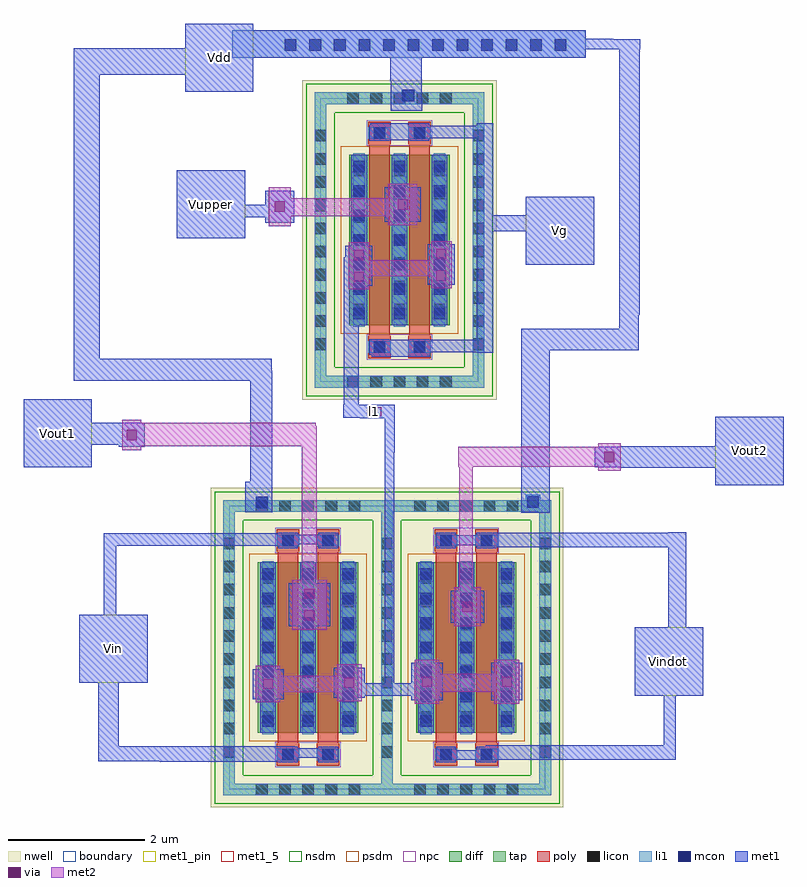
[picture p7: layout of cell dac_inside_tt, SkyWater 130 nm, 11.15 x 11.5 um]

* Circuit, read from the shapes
.subckt dac_inside_tt Vdd Vg Vin Vindot Vout1 Vout2 Vupper l1
XM1 Vout1 Vin l1 Vdd sky130_fd_pr__pfet_01v8 w=2.5 l=0.3 m=2
XM2 Vupper Vg l1 Vdd sky130_fd_pr__pfet_01v8 w=2.5 l=0.3 m=2
XM3 Vout2 Vindot l1 Vdd sky130_fd_pr__pfet_01v8 w=2.5 l=0.3 m=2
.ends

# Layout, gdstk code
import gdstk
lib = gdstk.Library(unit=1e-6, precision=1e-09)
def R(c, l, rs):  # rectangles x0, y0, x1, y1
    for r in rs: c.add(gdstk.rectangle(r[:2], r[2:], *l))
def A(c, l, x, y, w, h, nx, ny, dx, dy):  # array of equal rectangles
    R(c, l, [(x+i*dx, y+j*dy, x+i*dx+w, y+j*dy+h) for i in range(nx) for j in range(ny)])
nwell = (64, 20)
diff = (65, 20)
tap = (65, 44)
poly = (66, 20)
licon = (66, 44)
li1 = (67, 20)
mcon = (67, 44)
met1_5 = (68, 5)
met1_pin = (68, 16)
met1 = (68, 20)
via = (68, 44)
met2 = (69, 20)
nsdm = (93, 44)
psdm = (94, 20)
npc = (95, 20)
boundary = (235, 4)

sky130_fd_pr__pfet_01v8_ = lib.new_cell('sky130_fd_pr__pfet_01v8_JMP7WZ')
R(sky130_fd_pr__pfet_01v8_, nwell, [(-1.425,-2.345,1.425,2.345)])
R(sky130_fd_pr__pfet_01v8_, diff, [(-0.735,-1.25,0.735,1.25)])
R(sky130_fd_pr__pfet_01v8_, tap, [(-1.245,-2.165,1.245,-1.995), (-1.245,-1.995,-1.075,1.995), (1.075,-1.995,1.245,1.995), (-1.245,1.995,1.245,2.165)])
R(sky130_fd_pr__pfet_01v8_, poly, [(-0.46,-1.735,-0.13,-1.405), (0.13,-1.735,0.46,-1.405), (-0.445,-1.405,-0.145,1.405), (0.145,-1.405,0.445,1.405), (-0.46,1.405,-0.13,1.735), (0.13,1.405,0.46,1.735)])
A(sky130_fd_pr__pfet_01v8_, licon, -0.765, -2.165, 0.17, 0.17, 5, 2, 0.34, 4.16)
A(sky130_fd_pr__pfet_01v8_, licon, -1.245, -1.615, 0.17, 0.17, 1, 10, 0, 0.34)
A(sky130_fd_pr__pfet_01v8_, licon, 1.075, -1.615, 0.17, 0.17, 1, 10, 0, 0.34)
A(sky130_fd_pr__pfet_01v8_, licon, -0.675, -1.105, 0.17, 0.17, 3, 7, 0.59, 0.34)
R(sky130_fd_pr__pfet_01v8_, licon, [(-0.38,-1.655,-0.21,-1.485), (0.21,-1.655,0.38,-1.485), (-0.38,1.485,-0.21,1.655), (0.21,1.485,0.38,1.655)])
A(sky130_fd_pr__pfet_01v8_, li1, -0.675, -1.27, 0.17, 2.54, 3, 1, 0.59, 0)
R(sky130_fd_pr__pfet_01v8_, li1, [(-1.245,-2.165,1.245,-1.995), (-1.245,-1.995,-1.075,1.995), (1.075,-1.995,1.245,1.995), (-0.46,-1.655,-0.13,-1.485), (0.13,-1.655,0.46,-1.485), (-0.46,1.485,-0.13,1.655), (0.13,1.485,0.46,1.655), (-1.245,1.995,1.245,2.165)])
A(sky130_fd_pr__pfet_01v8_, mcon, -0.675, -1.165, 0.17, 0.17, 3, 7, 0.59, 0.36)
R(sky130_fd_pr__pfet_01v8_, mcon, [(-0.38,-1.655,-0.21,-1.485), (0.21,-1.655,0.38,-1.485), (-0.38,1.485,-0.21,1.655), (0.21,1.485,0.38,1.655)])
A(sky130_fd_pr__pfet_01v8_, met1, -0.705, -1.25, 0.23, 2.5, 3, 1, 0.59, 0)
R(sky130_fd_pr__pfet_01v8_, met1, [(-0.44,-1.685,-0.15,-1.455), (0.15,-1.685,0.44,-1.455), (-0.44,1.455,-0.15,1.685), (0.15,1.455,0.44,1.685)])
R(sky130_fd_pr__pfet_01v8_, nsdm, [(-1.37,-2.29,1.37,-1.87), (-1.37,-1.87,-0.95,1.87), (0.95,-1.87,1.37,1.87), (-1.37,1.87,1.37,2.29)])
R(sky130_fd_pr__pfet_01v8_, psdm, [(-0.86,-1.375,0.86,1.375)])
R(sky130_fd_pr__pfet_01v8_, npc, [(-0.48,-1.755,0.48,-1.385), (-0.48,1.385,0.48,1.755)])
R(sky130_fd_pr__pfet_01v8_, boundary, [(-1.16,-2.08,1.16,2.08)])

dac_inside_tt = lib.new_cell('dac_inside_tt')
R(dac_inside_tt, li1, [(9.79,-4.85,10,-4.63), (5.83,-4.83,6.01,-4.66), (7.97,1.14,8.16,1.31), (5.48,1.78,10.67,2.18)])
A(dac_inside_tt, mcon, 6.255, 1.88, 0.17, 0.17, 12, 1, 0.36, 0)
R(dac_inside_tt, mcon, [(5.835,-4.83,6.005,-4.66), (9.81,-4.825,9.98,-4.655), (7.98,1.14,8.15,1.31)])
R(dac_inside_tt, met1_5, [(7.46,-3.48,7.67,-3.35)])
R(dac_inside_tt, met1_pin, [(11.39,-7.58,12.39,-6.58), (3.24,-7.39,4.24,-6.39), (12.57,-4.49,13.57,-3.49), (2.42,-4.23,3.42,-3.23), (9.79,-1.26,10.79,-0.26), (4.67,-0.87,5.67,0.13), (4.79,1.28,5.79,2.28)])
R(dac_inside_tt, met1, [(4.42,-8.55,6.4,-8.54), (3.52,-8.54,6.4,-8.49), (8.62,-8.52,11.99,-8.38), (3.52,-8.49,6.99,-8.4), (3.52,-8.4,6.96,-8.35), (9.2,-8.38,11.99,-8.31), (3.52,-8.35,6.4,-8.32), (3.52,-8.32,3.82,-7.39), (11.81,-8.31,11.99,-7.58), (8.11,-7.65,8.57,-7.58), (9.28,-7.65,9.74,-7.1), (5.78,-7.63,6.24,-7.19), (6.97,-7.61,7.43,-7.58), (6.97,-7.58,8.57,-7.4), (11.39,-7.58,12.39,-6.58), (6.97,-7.4,7.43,-7.17), (7.72,-7.4,7.86,-4.01), (8.11,-7.4,8.57,-7.1), (3.24,-7.39,4.24,-6.39), (11.88,-6.58,12.14,-5.4), (6.31,-6.56,6.92,-5.93), (8.69,-6.51,9.18,-6.04), (3.6,-6.39,3.78,-5.38), (9.09,-5.4,12.14,-5.37), (3.6,-5.38,6.45,-5.36), (8.6,-5.37,12.14,-5.23), (3.6,-5.36,6.99,-5.22), (9.09,-5.23,12.14,-5.19), (3.6,-5.22,6.45,-5.2), (11.88,-5.19,12.14,-5.18), (9.72,-4.9,10.14,-2.51), (5.67,-4.89,6.07,-4.44), (12.57,-4.49,13.57,-4.24), (5.75,-4.44,6.07,-2.96), (11.18,-4.24,13.57,-4.23), (2.42,-4.23,3.42,-3.9), (10.8,-4.23,13.57,-3.93), (7.72,-4.01,7.87,-3.51), (3.82,-3.93,4.2,-3.9), (11.18,-3.93,13.57,-3.92), (12.57,-3.92,13.57,-3.49), (2.42,-3.9,4.2,-3.58), (2.42,-3.58,3.42,-3.23), (7.36,-3.51,7.87,-3.5), (7.11,-3.5,7.87,-3.31), (7.12,-3.31,7.34,-1.57), (3.16,-2.96,6.07,-2.81), (3.16,-2.81,6.06,-2.64), (3.16,-2.64,3.54,1.53), (7.53,-2.61,8.39,-2.54), (9.07,-2.55,9.31,-2.54), (7.53,-2.54,9.31,-2.36), (9.72,-2.51,11.45,-2.2), (9.07,-2.36,9.31,-0.77), (11.16,-2.2,11.45,-1.99), (11.16,-1.99,11.46,1.9), (7.12,-1.57,7.54,-1.15), (8.35,-1.55,8.75,-0.96), (9.79,-1.26,10.79,-0.77), (7.14,-1.15,7.54,-0.98), (4.67,-0.87,5.67,-0.56), (9.07,-0.77,10.79,-0.53), (5.97,-0.64,6.39,-0.56), (7.72,-0.63,8.25,-0.12), (4.67,-0.56,6.39,-0.38), (9.07,-0.53,9.31,0.6), (9.79,-0.53,10.79,-0.26), (4.67,-0.38,5.67,0.13), (5.97,-0.38,6.39,-0.17), (7.51,0.57,8.37,0.6), (7.51,0.6,9.31,0.78), (7.51,0.78,8.37,0.82), (9.07,0.78,9.31,0.82), (7.81,1,8.27,1.19), (7.81,1.19,8.26,1.44), (4.79,1.28,5.79,1.53), (7.8,1.44,8.26,1.78), (3.16,1.53,5.79,1.78), (3.16,1.78,10.67,1.9), (3.16,1.9,11.47,1.92), (4.79,1.92,11.47,2.05), (4.79,2.05,11.07,2.06), (4.79,2.06,10.67,2.18), (4.79,2.18,5.79,2.28)])
R(dac_inside_tt, via, [(5.935,-7.485,6.085,-7.335), (7.125,-7.465,7.275,-7.315), (8.265,-7.45,8.415,-7.3), (9.435,-7.45,9.585,-7.3), (6.54,-6.48,6.69,-6.33), (8.86,-6.35,9.01,-6.2), (6.54,-6.16,6.69,-6.01), (10.94,-4.155,11.09,-4.005), (3.935,-3.83,4.085,-3.68), (7.265,-1.51,7.415,-1.36), (8.475,-1.49,8.625,-1.34), (7.265,-1.19,7.415,-1.04), (8.475,-1.17,8.625,-1.02), (6.105,-0.48,6.255,-0.33), (7.91,-0.45,8.06,-0.3)])
R(dac_inside_tt, met2, [(8.16,-7.7,8.52,-7.52), (9.33,-7.7,9.69,-7.52), (5.83,-7.68,6.19,-7.53), (7.02,-7.66,7.38,-7.53), (5.83,-7.53,7.38,-7.29), (8.16,-7.52,9.69,-7.26), (5.83,-7.29,6.19,-7.14), (7.02,-7.29,7.38,-7.12), (8.16,-7.26,8.52,-7.05), (9.33,-7.26,9.69,-7.05), (6.36,-6.61,6.87,-5.88), (8.74,-6.56,9.13,-5.99), (8.81,-5.99,9.01,-4.22), (6.5,-5.88,6.72,-3.92), (10.85,-4.28,11.18,-4.22), (8.8,-4.22,11.18,-3.93), (3.87,-3.98,4.15,-3.92), (10.85,-3.93,11.18,-3.88), (3.87,-3.92,6.72,-3.63), (3.87,-3.63,6.71,-3.58), (3.87,-3.58,4.15,-3.53), (7.19,-1.62,7.49,-1.43), (8.4,-1.6,8.7,-1.43), (7.19,-1.43,8.7,-1.19), (7.19,-1.19,7.49,-0.93), (8.4,-1.19,8.7,-0.91), (6.02,-0.69,6.34,-0.55), (7.77,-0.68,8.2,-0.55), (6.02,-0.55,8.2,-0.28), (6.02,-0.28,6.34,-0.12), (7.77,-0.28,8.2,-0.07)])
dac_inside_tt.add(gdstk.Reference(sky130_fd_pr__pfet_01v8_, (7.935,-0.895)))
dac_inside_tt.add(gdstk.Reference(sky130_fd_pr__pfet_01v8_, (8.915,-6.875)))
dac_inside_tt.add(gdstk.Reference(sky130_fd_pr__pfet_01v8_, (6.595,-6.875)))
dac_inside_tt.add(gdstk.Label('l1', (7.565,-3.415), layer=68, texttype=5))
dac_inside_tt.add(gdstk.Label('Vupper', (5.17,-0.37), layer=68, texttype=5))
dac_inside_tt.add(gdstk.Label('Vg', (10.29,-0.76), layer=68, texttype=5))
dac_inside_tt.add(gdstk.Label('Vdd', (5.29,1.78), layer=68, texttype=5))
dac_inside_tt.add(gdstk.Label('Vin', (3.74,-6.89), layer=68, texttype=5))
dac_inside_tt.add(gdstk.Label('Vindot', (11.89,-7.08), layer=68, texttype=5))
dac_inside_tt.add(gdstk.Label('Vout1', (2.92,-3.73), layer=68, texttype=5))
dac_inside_tt.add(gdstk.Label('Vout2', (13.07,-3.99), layer=68, texttype=5))

lib.write_gds('dac_inside_tt.gds')
